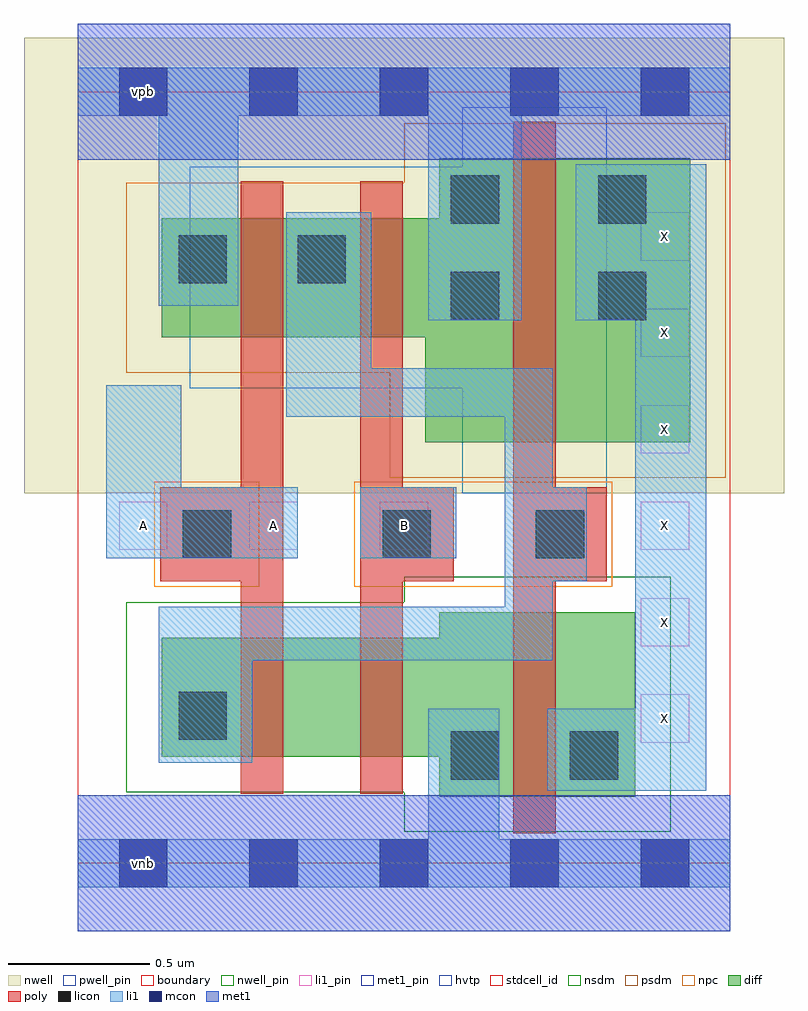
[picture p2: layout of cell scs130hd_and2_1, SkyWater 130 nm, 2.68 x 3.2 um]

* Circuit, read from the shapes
.subckt scs130hd_and2_1 A B X vgnd vnb vpb vpwr
XM1 n1 A n2 vnb sky130_fd_pr__nfet_01v8 w=0.42 l=0.15
XM2 vgnd B n1 vnb sky130_fd_pr__nfet_01v8 w=0.42 l=0.15
XM3 X n2 vgnd vnb sky130_fd_pr__nfet_01v8 w=0.65 l=0.15
XM4 n2 A vpwr vpb sky130_fd_pr__pfet_01v8_hvt w=0.42 l=0.15
XM5 vpwr B n2 vpb sky130_fd_pr__pfet_01v8_hvt w=0.42 l=0.15
XM6 X n2 vpwr vpb sky130_fd_pr__pfet_01v8_hvt w=1 l=0.15
.ends

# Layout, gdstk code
import gdstk
lib = gdstk.Library(unit=1e-6, precision=1e-09)
def R(c, l, rs):  # rectangles x0, y0, x1, y1
    for r in rs: c.add(gdstk.rectangle(r[:2], r[2:], *l))
def A(c, l, x, y, w, h, nx, ny, dx, dy):  # array of equal rectangles
    R(c, l, [(x+i*dx, y+j*dy, x+i*dx+w, y+j*dy+h) for i in range(nx) for j in range(ny)])
nwell_pin = (64, 16)
nwell = (64, 20)
diff = (65, 20)
poly = (66, 20)
licon = (66, 44)
li1_pin = (67, 16)
li1 = (67, 20)
mcon = (67, 44)
met1_pin = (68, 16)
met1 = (68, 20)
hvtp = (78, 44)
stdcell_id = (81, 4)
nsdm = (93, 44)
psdm = (94, 20)
npc = (95, 20)
pwell_pin = (122, 16)
boundary = (235, 4)

scs130hd_and2_1 = lib.new_cell('scs130hd_and2_1')
R(scs130hd_and2_1, nwell_pin, [(0.145,2.635,0.315,2.805)])
R(scs130hd_and2_1, nwell, [(-0.19,1.305,2.49,2.91)])
R(scs130hd_and2_1, diff, [(1.275,0.235,1.965,0.375), (0.295,0.375,1.965,0.795), (1.275,0.795,1.965,0.885), (1.225,1.485,2.16,1.855), (0.295,1.855,2.16,2.275), (1.275,2.275,2.16,2.485)])
R(scs130hd_and2_1, poly, [(1.535,0.105,1.685,0.995), (0.575,0.245,0.725,0.995), (0.995,0.245,1.145,0.995), (0.29,0.995,0.725,1.325), (0.995,0.995,1.325,1.325), (1.535,0.995,1.865,1.325), (0.575,1.325,0.725,2.405), (0.995,1.325,1.145,2.405), (1.535,1.325,1.685,2.615)])
R(scs130hd_and2_1, licon, [(1.315,0.295,1.485,0.465), (1.735,0.295,1.905,0.465), (0.355,0.435,0.525,0.605), (0.37,1.075,0.54,1.245), (1.075,1.075,1.245,1.245), (1.615,1.075,1.785,1.245), (1.315,1.915,1.485,2.085), (1.835,1.915,2.005,2.085), (0.355,2.045,0.525,2.215), (0.775,2.045,0.945,2.215), (1.315,2.255,1.485,2.425), (1.835,2.255,2.005,2.425)])
A(scs130hd_and2_1, li1_pin, 1.985, 0.425, 0.17, 0.17, 1, 6, 0, 0.34)
A(scs130hd_and2_1, li1_pin, 0.145, 1.105, 0.17, 0.17, 3, 1, 0.46, 0)
R(scs130hd_and2_1, li1, [(0,-0.085,2.3,0.085), (1.235,0.085,1.485,0.545), (1.655,0.255,2.215,0.545), (0.285,0.355,0.615,0.715), (1.965,0.545,2.215,1.915), (0.285,0.715,1.675,0.905), (1.505,0.905,1.675,0.995), (1.505,0.995,1.795,1.325), (0.1,1.075,0.775,1.325), (0.995,1.075,1.335,1.325), (0.1,1.325,0.365,1.685), (1.505,1.325,1.675,1.575), (0.735,1.575,1.675,1.745), (0.735,1.745,1.035,2.295), (1.235,1.915,1.565,2.635), (1.755,1.915,2.215,2.465), (0.285,1.965,0.565,2.635), (0,2.635,2.3,2.805)])
A(scs130hd_and2_1, mcon, 0.145, -0.085, 0.17, 0.17, 5, 2, 0.46, 2.72)
R(scs130hd_and2_1, met1_pin, [(0.145,-0.085,0.315,0.085), (0.145,2.635,0.315,2.805)])
R(scs130hd_and2_1, met1, [(0,-0.24,2.3,0.24), (0,2.48,2.3,2.96)])
R(scs130hd_and2_1, hvtp, [(1.355,1.305,1.865,1.675), (0.395,1.675,1.865,2.455), (1.355,2.455,1.865,2.665)])
R(scs130hd_and2_1, stdcell_id, [(0,0,2.3,2.72)])
R(scs130hd_and2_1, nsdm, [(1.15,0.11,2.09,0.25), (0.17,0.25,2.09,0.92), (1.15,0.92,2.09,1.01)])
R(scs130hd_and2_1, psdm, [(1.1,1.36,2.285,1.73), (0.17,1.73,2.285,2.4), (1.15,2.4,2.285,2.61)])
R(scs130hd_and2_1, npc, [(0.27,0.975,0.64,1.345), (0.975,0.975,1.885,1.345)])
R(scs130hd_and2_1, pwell_pin, [(0.145,-0.085,0.315,0.085)])
R(scs130hd_and2_1, boundary, [(0,0,2.3,2.72)])
scs130hd_and2_1.add(gdstk.Label('vpb', (0.23,2.72), layer=64, texttype=5))
scs130hd_and2_1.add(gdstk.Label('vnb', (0.23,0), layer=64, texttype=59))
scs130hd_and2_1.add(gdstk.Label('vgnd', (0.23,0), layer=68, texttype=5))
scs130hd_and2_1.add(gdstk.Label('vpwr', (0.23,2.72), layer=68, texttype=5))
scs130hd_and2_1.add(gdstk.Label('A', (0.69,1.19), layer=67, texttype=5))
scs130hd_and2_1.add(gdstk.Label('A', (0.23,1.19), layer=67, texttype=5))
scs130hd_and2_1.add(gdstk.Label('B', (1.15,1.19), layer=67, texttype=5))
scs130hd_and2_1.add(gdstk.Label('X', (2.07,0.85), layer=67, texttype=5))
scs130hd_and2_1.add(gdstk.Label('X', (2.07,0.51), layer=67, texttype=5))
scs130hd_and2_1.add(gdstk.Label('X', (2.07,1.19), layer=67, texttype=5))
scs130hd_and2_1.add(gdstk.Label('X', (2.07,1.53), layer=67, texttype=5))
scs130hd_and2_1.add(gdstk.Label('X', (2.07,1.87), layer=67, texttype=5))
scs130hd_and2_1.add(gdstk.Label('X', (2.07,2.21), layer=67, texttype=5))

lib.write_gds('scs130hd_and2_1.gds')
